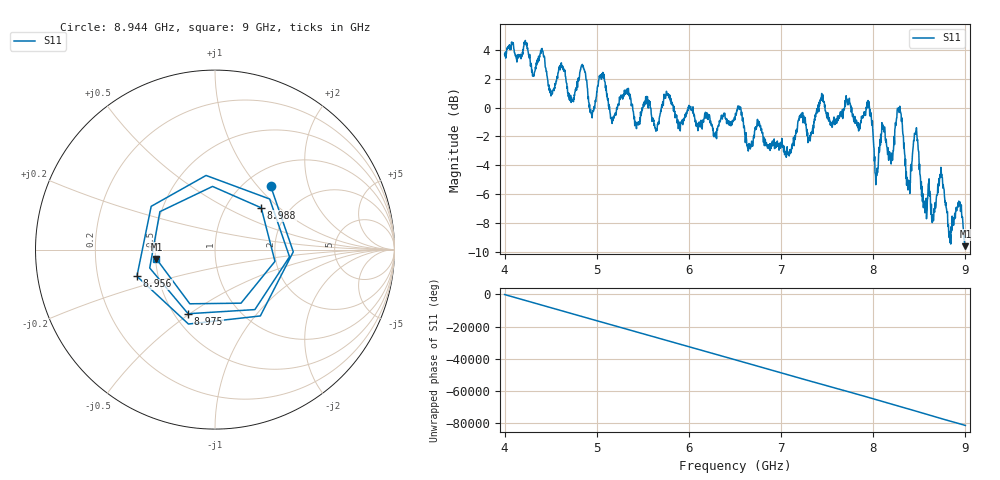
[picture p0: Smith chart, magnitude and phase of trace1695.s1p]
! Created with skrf 1.8.0 (http://scikit-rf.org).
# Hz S RI R 50.0
!freq ReS11 ImS11
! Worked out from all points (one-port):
!   1601 points, 4 GHz to 9 GHz, reference 50 ohm
!   lowest |S11| = -9.6 dB at 9 GHz (marker M1), VSWR 1.99, Z = 25.3 - j2.94 ohm
!   |S11| at or under -10 dB: nowhere
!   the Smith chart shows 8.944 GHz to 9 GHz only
!   S11 on the Smith chart (normalised r, x): 8.944 GHz: 1.30, +1.18; 8.956 GHz: 0.38, -0.14; 8.975 GHz: 0.59, -0.49; 8.988 GHz: 1.45, +0.77; 9 GHz: 0.51, -0.06
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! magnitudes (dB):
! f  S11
! 4 GHz  3.7
! 4.409 GHz  4.0
! 4.509 GHz  0.9
! 4.625 GHz  2.9
! 4.728 GHz  0.5
! 4.853 GHz  2.9
! 4.944 GHz  -0.5
! 5.053 GHz  2.2
! 5.166 GHz  -1.1
! 5.25 GHz  0.5
! 5.875 GHz  -1.0
! 6.5 GHz  -0.7
! 7.125 GHz  -2.6
! 7.438 GHz  0.7
! 7.75 GHz  0.3
! 7.953 GHz  0.4
! 8.034 GHz  -4.6
! 8.284 GHz  -0.3
! 8.375 GHz  -5.7
! 8.459 GHz  -1.9
! 8.559 GHz  -6.9
! 8.731 GHz  -4.9
! 8.834 GHz  -9.4
! 8.944 GHz  -6.6
! 8.956 GHz  -6.8
! 8.975 GHz  -8.2
! 8.988 GHz  -9.2
! 9 GHz  -9.6
